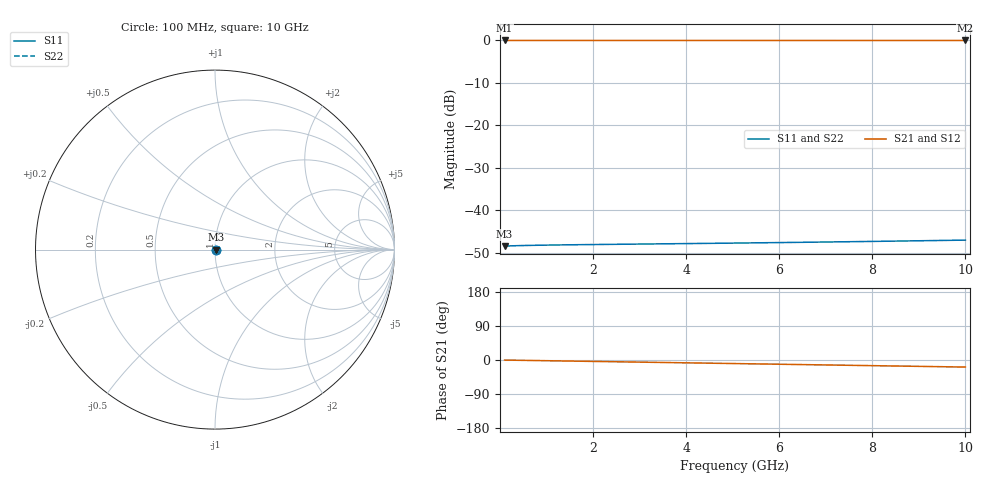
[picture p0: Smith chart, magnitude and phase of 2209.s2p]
# Hz S RI R 50.00
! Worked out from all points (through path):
!   100 points, 100 MHz to 10 GHz, reference 50 ohm
!   highest |S21| = -0.03 dB at 100 MHz (marker M1); lowest = 0.0 dB at 10 GHz (marker M2)
!   group delay of S21, straight-line fit = 5.18 ps
!   lowest |S11| = -48.4 dB at 100 MHz (marker M3), VSWR 1.01, Z = 50.4 - j0.00295 ohm
!   |S11| at or under -10 dB: start of sweep to end of sweep
!   |S22| runs from -48.4 to -47.0 dB; largest |S21 - S12| = 0
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1e8  0.00378 -2.93e-05  0.9962 -0.00324  0.9962 -0.00324  0.00378 -2.93e-05
2e8  0.00381 -5.88e-05  0.9962 -0.00648  0.9962 -0.00648  0.00381 -5.88e-05
3e8  0.00382 -8.83e-05  0.9961 -0.00972  0.9961 -0.00972  0.00382 -8.83e-05
4e8  0.00384 -0.000118  0.9961 -0.013  0.9961 -0.013  0.00384 -0.000118
6e8  0.00386 -0.000177  0.9959 -0.0194  0.9959 -0.0194  0.00386 -0.000177
8e8  0.00387 -0.000237  0.9958 -0.0259  0.9958 -0.0259  0.00387 -0.000237
1.1e9  0.00389 -0.000327  0.9954 -0.0356  0.9954 -0.0356  0.00389 -0.000327
1.4e9  0.0039 -0.000416  0.995 -0.0453  0.995 -0.0453  0.0039 -0.000416
1.8e9  0.00391 -0.000537  0.9943 -0.0583  0.9943 -0.0583  0.00391 -0.000537
2.6e9  0.00391 -0.000777  0.9924 -0.0841  0.9924 -0.0841  0.00391 -0.000777
3e9  0.0039 -0.000898  0.9912 -0.097  0.9912 -0.097  0.0039 -0.000898
3.4e9  0.0039 -0.00102  0.9898 -0.1099  0.9898 -0.1099  0.0039 -0.00102
4.2e9  0.00387 -0.00126  0.9866 -0.1356  0.9866 -0.1356  0.00387 -0.00126
4.6e9  0.00385 -0.00138  0.9847 -0.1484  0.9847 -0.1484  0.00385 -0.00138
5.1e9  0.00382 -0.00153  0.9821 -0.1644  0.9821 -0.1644  0.00382 -0.00153
5.9e9  0.00377 -0.00177  0.9775 -0.19  0.9775 -0.19  0.00377 -0.00177
6.7e9  0.00371 -0.00201  0.9721 -0.2153  0.9721 -0.2153  0.00371 -0.00201
7.5e9  0.00363 -0.00225  0.9662 -0.2406  0.9662 -0.2406  0.00363 -0.00225
7.9e9  0.00359 -0.00236  0.9629 -0.2531  0.9629 -0.2531  0.00359 -0.00236
8.4e9  0.00353 -0.00251  0.9586 -0.2688  0.9586 -0.2688  0.00353 -0.00251
9.2e9  0.00344 -0.00274  0.9513 -0.2936  0.9513 -0.2936  0.00344 -0.00274
1e10  0.00333 -0.00297  0.9432 -0.3183  0.9432 -0.3183  0.00333 -0.00297
